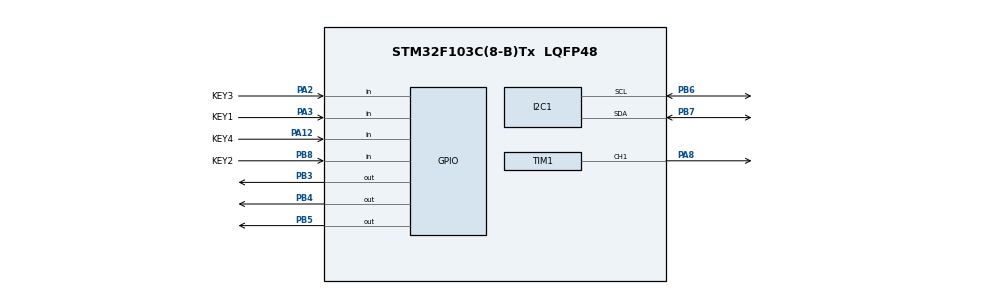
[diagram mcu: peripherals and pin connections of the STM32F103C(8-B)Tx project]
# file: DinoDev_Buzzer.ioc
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Mcu.Family=STM32F1
Mcu.Name=STM32F103C(8-B)Tx
Mcu.Package=LQFP48
NVIC.PriorityGroup=NVIC_PRIORITYGROUP_4
PA12.GPIO_Label=KEY4
PA12.GPIO_PuPd=GPIO_PULLUP
PA12.Signal=GPIO_Input
PA13.Mode=Serial_Wire
PA13.Signal=SYS_JTMS-SWDIO
PA14.Mode=Serial_Wire
PA14.Signal=SYS_JTCK-SWCLK
PA2.GPIO_Label=KEY3
PA2.GPIO_PuPd=GPIO_PULLUP
PA2.Signal=GPIO_Input
PA3.GPIO_Label=KEY1
PA3.GPIO_PuPd=GPIO_PULLUP
PA3.Signal=GPIO_Input
PA8.Signal=S_TIM1_CH1
PB3.Signal=GPIO_Output
PB4.Signal=GPIO_Output
PB5.Signal=GPIO_Output
PB6.Mode=I2C
PB6.Signal=I2C1_SCL
PB7.Mode=I2C
PB7.Signal=I2C1_SDA
PB8.GPIO_Label=KEY2
PB8.GPIO_PuPd=GPIO_PULLUP
PB8.Signal=GPIO_Input
PD0-OSC_IN.Mode=HSE-External-Oscillator
PD0-OSC_IN.Signal=RCC_OSC_IN
PD1-OSC_OUT.Mode=HSE-External-Oscillator
PD1-OSC_OUT.Signal=RCC_OSC_OUT
ProjectManager.HeapSize=0x200
ProjectManager.StackSize=0x400
ProjectManager.TargetToolchain=STM32CubeIDE
RCC.APB1Freq_Value=8000000
RCC.APB2Freq_Value=8000000
SH.S_TIM1_CH1.0=TIM1_CH1,PWM Generation1 CH1
TIM1.Channel-PWM\ Generation1\ CH1=TIM_CHANNEL_1
board=custom

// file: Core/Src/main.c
/* USER CODE BEGIN Header */
/**
 ******************************************************************************
 * @file           : main.c
 * @brief          : Main program body
 ******************************************************************************
 * @attention
 *
 * Copyright (c) 2023 STMicroelectronics.
 * All rights reserved.
 *
 * This software is licensed under terms that can be found in the LICENSE file
 * in the root directory of this software component.
 * If no LICENSE file comes with this software, it is provided AS-IS.
 *
 ******************************************************************************
 */
/* USER CODE END Header */
#include "main.h"

/* USER CODE BEGIN Includes */
#include "button.h"
/* USER CODE END Includes */

/* USER CODE BEGIN PD */
#define MAX_PWM 65535

/* USER CODE END PD */

I2C_HandleTypeDef hi2c1;

TIM_HandleTypeDef htim1;

void SystemClock_Config(void);
static void MX_GPIO_Init(void);
static void MX_I2C1_Init(void);
static void MX_TIM1_Init(void);

int main(void)
{
	/* USER CODE BEGIN 1 */
	button KEY1, KEY2, KEY3, KEY4;

	/* USER CODE END 1 */

	/* MCU Configuration--------------------------------------------------------*/

	/* Reset of all peripherals, Initializes the Flash interface and the Systick. */
	HAL_Init();

	/* USER CODE BEGIN Init */
	KEY1.PORT = KEY1_GPIO_Port;
	KEY1.PIN = KEY1_Pin;
	KEY1.StateFlag = 0;
	KEY1.timer = 0;

	KEY2.PORT = KEY2_GPIO_Port;
	KEY2.PIN = KEY2_Pin;
	KEY2.StateFlag = 0;
	KEY2.timer = 0;

	KEY3.PORT = KEY3_GPIO_Port;
	KEY3.PIN = KEY3_Pin;
	KEY3.StateFlag = 0;
	KEY3.timer = 0;

	KEY4.PORT = KEY4_GPIO_Port;
	KEY4.PIN = KEY4_Pin;
	KEY4.StateFlag = 0;
	KEY4.timer = 0;

	/* USER CODE  END Init */

	/* Configure the system clock */
	SystemClock_Config();

	/* Initialize all configured peripherals */
	MX_GPIO_Init();
	MX_I2C1_Init();
	MX_TIM1_Init();
	/* USER CODE BEGIN 2 */
	HAL_TIM_PWM_Start(&htim1, TIM_CHANNEL_2);
	/* USER CODE END 2 */

	/* Infinite loop */
	/* USER CODE BEGIN WHILE */
	while (1)
	{
		if (Button_Check(KEY1))
		{
			TIM1->CCR1 = MAX_PWM / 4;
			HAL_Delay(700);
			TIM1->CCR1 = 0;
		}
		if (Button_Check(KEY2))
		{
			TIM1->CCR1 = MAX_PWM / 3;
			HAL_Delay(700);
			TIM1->CCR1 = 0;
		}
		if (Button_Check(KEY3))
		{
			TIM1->CCR1 = MAX_PWM / 2;
			HAL_Delay(700);
			TIM1->CCR1 = 0;
		}
		if (Button_Check(KEY4))
		{
			TIM1->CCR1 = MAX_PWM;
			HAL_Delay(700);
			TIM1->CCR1 = 0;
		}
		/* USER CODE END WHILE */

	}
}

void SystemClock_Config(void)
{
	RCC_OscInitTypeDef RCC_OscInitStruct =
	{ 0 };
	RCC_ClkInitTypeDef RCC_ClkInitStruct =
	{ 0 };

	/** Initializes the RCC Oscillators according to the specified parameters
	 * in the RCC_OscInitTypeDef structure.
	 */
	RCC_OscInitStruct.OscillatorType = RCC_OSCILLATORTYPE_HSI;
	RCC_OscInitStruct.HSIState = RCC_HSI_ON;
	RCC_OscInitStruct.HSICalibrationValue = RCC_HSICALIBRATION_DEFAULT;
	RCC_OscInitStruct.PLL.PLLState = RCC_PLL_NONE;
	if (HAL_RCC_OscConfig(&RCC_OscInitStruct) != HAL_OK)
	{
		Error_Handler();
	}

	/** Initializes the CPU, AHB and APB buses clocks
	 */
	RCC_ClkInitStruct.ClockType = RCC_CLOCKTYPE_HCLK | RCC_CLOCKTYPE_SYSCLK
			| RCC_CLOCKTYPE_PCLK1 | RCC_CLOCKTYPE_PCLK2;
	RCC_ClkInitStruct.SYSCLKSource = RCC_SYSCLKSOURCE_HSI;
	RCC_ClkInitStruct.AHBCLKDivider = RCC_SYSCLK_DIV1;
	RCC_ClkInitStruct.APB1CLKDivider = RCC_HCLK_DIV1;
	RCC_ClkInitStruct.APB2CLKDivider = RCC_HCLK_DIV1;

	if (HAL_RCC_ClockConfig(&RCC_ClkInitStruct, FLASH_LATENCY_0) != HAL_OK)
	{
		Error_Handler();
	}
}

static void MX_I2C1_Init(void)
{

	hi2c1.Instance = I2C1;
	hi2c1.Init.ClockSpeed = 100000;
	hi2c1.Init.DutyCycle = I2C_DUTYCYCLE_2;
	hi2c1.Init.OwnAddress1 = 0;
	hi2c1.Init.AddressingMode = I2C_ADDRESSINGMODE_7BIT;
	hi2c1.Init.DualAddressMode = I2C_DUALADDRESS_DISABLE;
	hi2c1.Init.OwnAddress2 = 0;
	hi2c1.Init.GeneralCallMode = I2C_GENERALCALL_DISABLE;
	hi2c1.Init.NoStretchMode = I2C_NOSTRETCH_DISABLE;
	if (HAL_I2C_Init(&hi2c1) != HAL_OK)
	{
		Error_Handler();
	}

}

static void MX_TIM1_Init(void)
{

	TIM_MasterConfigTypeDef sMasterConfig =
	{ 0 };
	TIM_OC_InitTypeDef sConfigOC =
	{ 0 };
	TIM_BreakDeadTimeConfigTypeDef sBreakDeadTimeConfig =
	{ 0 };

	htim1.Instance = TIM1;
	htim1.Init.Prescaler = 0;
	htim1.Init.CounterMode = TIM_COUNTERMODE_UP;
	htim1.Init.Period = 65535;
	htim1.Init.ClockDivision = TIM_CLOCKDIVISION_DIV1;
	htim1.Init.RepetitionCounter = 0;
	htim1.Init.AutoReloadPreload = TIM_AUTORELOAD_PRELOAD_DISABLE;
	if (HAL_TIM_PWM_Init(&htim1) != HAL_OK)
	{
		Error_Handler();
	}
	sMasterConfig.MasterOutputTrigger = TIM_TRGO_RESET;
	sMasterConfig.MasterSlaveMode = TIM_MASTERSLAVEMODE_DISABLE;
	if (HAL_TIMEx_MasterConfigSynchronization(&htim1, &sMasterConfig) != HAL_OK)
	{
		Error_Handler();
	}
	sConfigOC.OCMode = TIM_OCMODE_PWM1;
	sConfigOC.Pulse = 0;
	sConfigOC.OCPolarity = TIM_OCPOLARITY_HIGH;
	sConfigOC.OCNPolarity = TIM_OCNPOLARITY_HIGH;
	sConfigOC.OCFastMode = TIM_OCFAST_DISABLE;
	sConfigOC.OCIdleState = TIM_OCIDLESTATE_RESET;
	sConfigOC.OCNIdleState = TIM_OCNIDLESTATE_RESET;
	if (HAL_TIM_PWM_ConfigChannel(&htim1, &sConfigOC, TIM_CHANNEL_1) != HAL_OK)
	{
		Error_Handler();
	}
	sBreakDeadTimeConfig.OffStateRunMode = TIM_OSSR_DISABLE;
	sBreakDeadTimeConfig.OffStateIDLEMode = TIM_OSSI_DISABLE;
	sBreakDeadTimeConfig.LockLevel = TIM_LOCKLEVEL_OFF;
	sBreakDeadTimeConfig.DeadTime = 0;
	sBreakDeadTimeConfig.BreakState = TIM_BREAK_DISABLE;
	sBreakDeadTimeConfig.BreakPolarity = TIM_BREAKPOLARITY_HIGH;
	sBreakDeadTimeConfig.AutomaticOutput = TIM_AUTOMATICOUTPUT_DISABLE;
	if (HAL_TIMEx_ConfigBreakDeadTime(&htim1, &sBreakDeadTimeConfig) != HAL_OK)
	{
		Error_Handler();
	}
	HAL_TIM_MspPostInit(&htim1);

}

static void MX_GPIO_Init(void)
{
	GPIO_InitTypeDef GPIO_InitStruct =
	{ 0 };

	/* GPIO Ports Clock Enable */
	__HAL_RCC_GPIOD_CLK_ENABLE();
	__HAL_RCC_GPIOA_CLK_ENABLE();
	__HAL_RCC_GPIOB_CLK_ENABLE();

	/*Configure GPIO pin Output Level */
	HAL_GPIO_WritePin(GPIOB, GPIO_PIN_3 | GPIO_PIN_4 | GPIO_PIN_5,
			GPIO_PIN_RESET);

	/*Configure GPIO pins : KEY3_Pin KEY1_Pin KEY4_Pin */
	GPIO_InitStruct.Pin = KEY3_Pin | KEY1_Pin | KEY4_Pin;
	GPIO_InitStruct.Mode = GPIO_MODE_INPUT;
	GPIO_InitStruct.Pull = GPIO_PULLUP;
	HAL_GPIO_Init(GPIOA, &GPIO_InitStruct);

	/*Configure GPIO pins : PB3 PB4 PB5 */
	GPIO_InitStruct.Pin = GPIO_PIN_3 | GPIO_PIN_4 | GPIO_PIN_5;
	GPIO_InitStruct.Mode = GPIO_MODE_OUTPUT_PP;
	GPIO_InitStruct.Pull = GPIO_NOPULL;
	GPIO_InitStruct.Speed = GPIO_SPEED_FREQ_LOW;
	HAL_GPIO_Init(GPIOB, &GPIO_InitStruct);

	/*Configure GPIO pin : KEY2_Pin */
	GPIO_InitStruct.Pin = KEY2_Pin;
	GPIO_InitStruct.Mode = GPIO_MODE_INPUT;
	GPIO_InitStruct.Pull = GPIO_PULLUP;
	HAL_GPIO_Init(KEY2_GPIO_Port, &GPIO_InitStruct);

}

void Error_Handler(void)
{
	__disable_irq();
	while (1)
	{
	}
}
